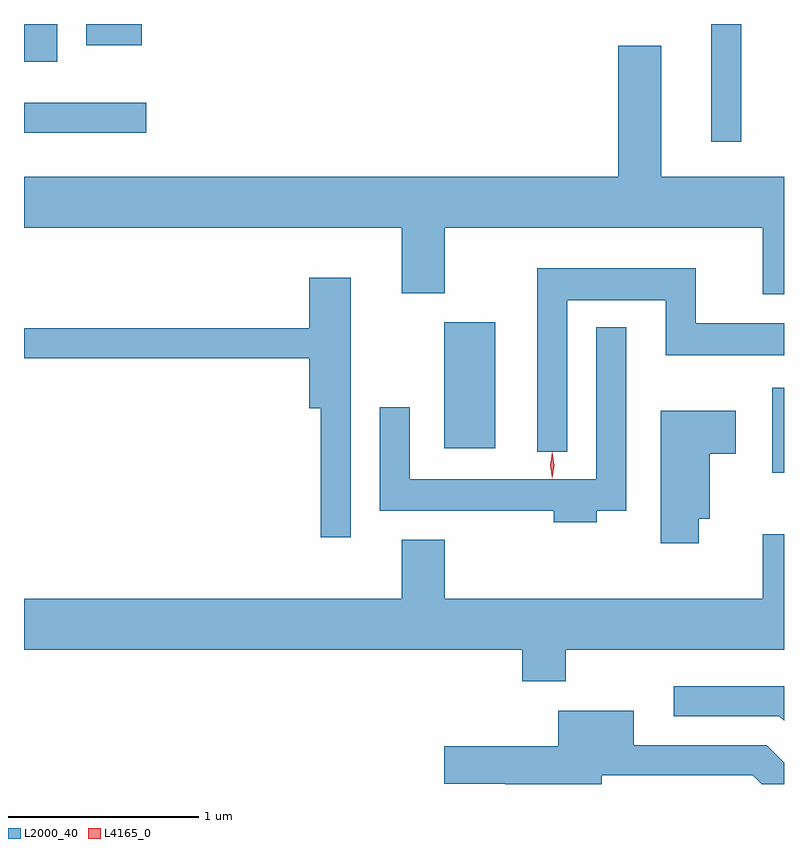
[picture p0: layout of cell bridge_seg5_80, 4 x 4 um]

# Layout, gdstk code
import gdstk
lib = gdstk.Library(unit=1e-6, precision=1e-09)
def R(c, l, rs):  # rectangles x0, y0, x1, y1
    for r in rs: c.add(gdstk.rectangle(r[:2], r[2:], *l))
def P(c, l, *ps):  # polygons
    for p in ps: c.add(gdstk.Polygon(p, *l))
L2000_40 = (2000, 40)
L4165_0 = (4165, 0)

bridge_seg5_80 = lib.new_cell('bridge_seg5_80')
R(bridge_seg5_80, L2000_40, [(1228.201,1482.146,1228.264,1482.594), (1226.476,1482.276,1226.744,1482.939), (1227.881,1483.888,1228.039,1484.509), (1224.264,1483.936,1224.908,1484.094), (1224.591,1484.396,1224.884,1484.509)])
P(bridge_seg5_80, L2000_40, [(1224.439,1484.509),(1224.266,1484.509),(1224.266,1484.469),(1224.264,1484.469),(1224.264,1484.311),(1224.439,1484.311)],
  [(1228.264,1483.704),(1227.619,1483.704),(1227.619,1484.394),(1227.391,1484.394),(1227.391,1483.704),(1224.264,1483.704),(1224.264,1483.436),(1226.251,1483.436),(1226.251,1483.091),(1226.479,1483.091),(1226.479,1483.436),(1228.151,1483.436),(1228.151,1483.086),(1228.264,1483.086)],
  [(1227.124,1483.056),(1227.641,1483.056),(1227.641,1482.766),(1228.264,1482.766),(1228.264,1482.934),(1227.799,1482.934),(1227.799,1483.224),(1226.966,1483.224),(1226.966,1482.258),(1227.124,1482.258)],
  [(1225.984,1483.174),(1225.766,1483.174),(1225.766,1482.909),(1224.264,1482.909),(1224.264,1482.751),(1225.766,1482.751),(1225.766,1482.486),(1225.826,1482.486),(1225.826,1481.808),(1225.984,1481.808)],
  [(1227.279,1481.946),(1227.434,1481.946),(1227.434,1482.913),(1227.276,1482.913),(1227.276,1482.114),(1226.294,1482.114),(1226.294,1482.493),(1226.136,1482.493),(1226.136,1481.946),(1227.051,1481.946),(1227.051,1481.886),(1227.279,1481.886)],
  [(1227.814,1481.906),(1227.874,1481.906),(1227.874,1482.246),(1228.009,1482.246),(1228.009,1482.474),(1227.616,1482.474),(1227.616,1481.776),(1227.814,1481.776)],
  [(1227.114,1481.216),(1228.264,1481.216),(1228.264,1481.824),(1228.151,1481.824),(1228.151,1481.484),(1226.479,1481.484),(1226.479,1481.794),(1226.251,1481.794),(1226.251,1481.484),(1224.264,1481.484),(1224.264,1481.216),(1226.886,1481.216),(1226.886,1481.051),(1227.114,1481.051)],
  [(1228.264,1481.024),(1227.683,1481.024),(1227.683,1480.866),(1228.239,1480.866),(1228.264,1480.841)],
  [(1227.304,1480.556),(1228.099,1480.556),(1228.146,1480.509),(1228.264,1480.509),(1228.264,1480.622),(1228.172,1480.714),(1227.474,1480.714),(1227.474,1480.894),(1227.076,1480.894),(1227.076,1480.709),(1226.476,1480.709),(1226.476,1480.511),(1226.796,1480.511),(1226.796,1480.509),(1227.304,1480.509)])
P(bridge_seg5_80, L4165_0, [(1227.045,1482.119),(1227.044,1482.12),(1227.035,1482.186),(1227.044,1482.252),(1227.045,1482.253),(1227.045,1482.252),(1227.055,1482.186),(1227.045,1482.12)],
  [(1227.044,1482.117),(1227.035,1482.186),(1227.044,1482.256),(1227.045,1482.256),(1227.045,1482.256),(1227.055,1482.186),(1227.045,1482.117),(1227.045,1482.117)])

lib.write_gds('bridge_seg5_80.gds')
